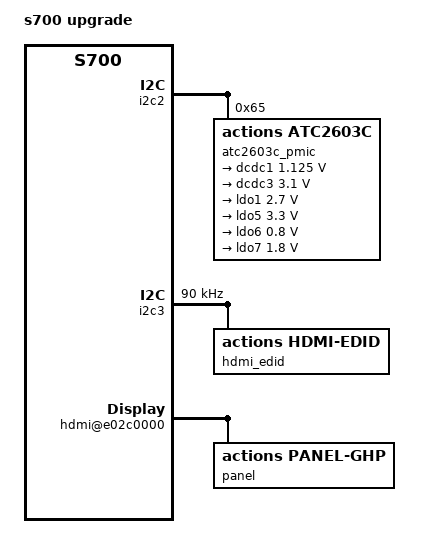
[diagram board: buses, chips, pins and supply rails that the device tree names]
/*
 * Copyright (c) 2015 Actions Semi Co., Ltd.
 *
 * SPDX-License-Identifier:	GPL-2.0+
 */

/dts-v1/;

#include "s700.dtsi"

/ {
	model = "s700 upgrade";
	compatible = "actions,s700_upgrade", "actions,s700";

	chosen {
		stdout-path = &serial5;
	};

	clock:e0168000 {
		compatible = "actions,owl-clk";
		core_pll = <600>;
		dev_pll = <600>;
		display_pll = <720>;
	};

	pwm: pwm@e01b0000 {
		pwm0 {
			id = <0>;
			mfp = <0>;
		};

		pwm1 {
			id = <1>;
			mfp = <0>;
		};

		pwm2 {
			id = <2>;
			mfp = <0>;
		};
	};

	xhci@e0400000 {
		actions,vbus-gpio = <&gpioc 14 0>;  /* GPIOC14,  1: low active; 0: high active */
	};

	adfu{
		compatible = "actions,s700-adfu";
		detect_times = <130>;
		detect_interval = <5>;	/* total time =  detect_times * detect_interval(ms) */
	};

	i2c2: i2c@e0178000 {
			#address-cells = <1>;
			#size-cells = <1>;
		atc2603c_pmic {
			compatible = "actions,atc2603c";
			reg = <0x65 1>;


			total_steps = <2625>;
			pwms_gpu = <&pwm 1 2625 0>;
			vdd_gpu = <350>;
			vdd_core = <490>;
			pwms_core = <&pwm 2 2625 0>;
			atc2603c_pstore {
					compatible = "actions,atc2603c-pstore";
			};
			voltage-regulators {

			dcdc1: dcdc1 {
				regulator-name = "dcdc1";
				regulator-min-microvolt = <1125000>;
				regulator-max-microvolt = <1125000>;
				regulator-always-on;
			};

			dcdc3: dcdc3 {
				regulator-name = "dcdc3";
				regulator-min-microvolt = <3100000>;
				regulator-max-microvolt = <3100000>;
				regulator-always-on;
			};

			ldo1: ldo1{
				regulator-name = "ldo1";
				regulator-min-microvolt  = <2700000>;
				regulator-max-microvolt = <2700000>;
				regulator-always-on;
			};

			ldo5: ldo5{
				regulator-name = "ldo5";
				regulator-min-microvolt  = <3300000>;
				regulator-max-microvolt = <3300000>;
				regulator-always-on;
			};

			ldo6: ldo6{
				regulator-name = "ldo6";
				regulator-min-microvolt  = <800000>;
				regulator-max-microvolt = <800000>;
				regulator-always-on;
			};

			ldo7: ldo7{
				regulator-name = "ldo7";
				regulator-min-microvolt  = <1800000>;
				regulator-max-microvolt = <1800000>;
				regulator-always-on;
			};


		};
		atc2603c_irkey {
			compatible = "actions,atc2603c-ir";
			config {
				protocol = <1>; /* 0:9012 1:NEC8 2:RC5 */
				customer_code = <0x0dff40>;
				wk_code = <0x4d>;
				keymapsize = <45>;
				ir_code  =<0x0 0x01 0x02 0x03 0x04 0x05 0x06 0x07 0x08 0x09  0x0A  0x0B  0x0C  0x0D  0x0E  0x0F  0x10 0x11  0x12 0x13 0x14 0x15  0x16 0x17 0x18 0x19 0x1A  0x1B 0x1C  0x1D 0x1E 0x1F 0x40 0x41 0x42  0x43  0x44 0x45  0x46 0x47 0x4D  0x53 0x54  0x57 0x5B>;
				key_code =<11   2   3    4    5    6    7    8    9 	 10 	 100    103  126   353   108   52    105  106    14   60   63  115    80   61   65   76   172   78   114   97   79   75   77  81   158    113  65   139   64   71   116   72   175   82   73>;
			};
			config-1 {
				protocol = <1>; /* 0:9012 1:NEC8 2:RC5 */
				customer_code = <0x0dff40>;
				wk_code = <0x4d>;
				keymapsize = <45>;
				ir_code  =<0x0 0x01 0x02 0x03 0x04 0x05 0x06 0x07 0x08 0x09  0x0A  0x0B  0x0C  0x0D  0x0E  0x0F  0x10 0x11  0x12 0x13 0x14 0x15  0x16 0x17 0x18 0x19 0x1A  0x1B 0x1C  0x1D 0x1E 0x1F 0x40 0x41 0x42  0x43  0x44 0x45  0x46 0x47 0x4D  0x53 0x54  0x57 0x5B>;
				key_code =<11   2   3    4    5    6    7    8    9 	 10 	 100    103  126   353   108   52    105  106    14   60   63  115    80   61   65   76   172   78   114   97   79   75   77  81   158    113  65   139   64   71   116   72   175   82   73>;
			};
		};

		};
	};

	i2c3: i2c@e017c000 {
		clock-frequency = <90000>;
		hdmi_edid {
			compatible = "actions,hdmi-edid";
		};
	};

	hdmi@e02c0000 {
		channel_invert = <0>;
		bit_invert = <0>;

		panel@ghp {
			compatible = "actions,panel-ghp";

			is_primary = <1>;

			draw_width = <1920>;
			draw_height = <1080>;

			videomode-0 = <&default_mode>;

			/* default mode used when EDID read error */
			default_mode: videomode {
				refresh_rate = <60>;

				xres = <1280>;
				yres = <720>;
			};
		};
	};
	cvbs:cvbs@e02b0000{
		panel@gcp {
			compatible = "actions,panel-gcp";

			is_primary = <1>;
			draw_width = <1920>;
			draw_height = <1080>;
			videomode-0 = <&def_mode>;

			def_mode: videomode {
				refresh_rate = <25>;

				xres = <720>;
				yres = <576>;
			};
		};
	};
};
